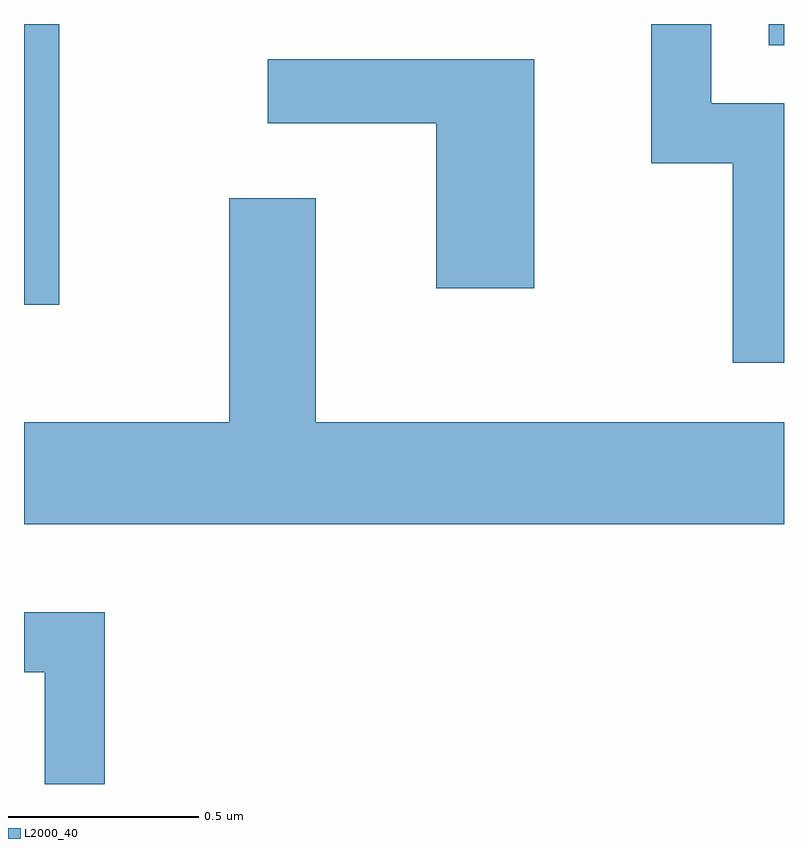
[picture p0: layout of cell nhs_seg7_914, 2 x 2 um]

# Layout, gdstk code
import gdstk
lib = gdstk.Library(unit=1e-6, precision=1e-09)
def R(c, l, rs):  # rectangles x0, y0, x1, y1
    for r in rs: c.add(gdstk.rectangle(r[:2], r[2:], *l))
def P(c, l, *ps):  # polygons
    for p in ps: c.add(gdstk.Polygon(p, *l))
L2000_40 = (2000, 40)

nhs_seg7_914 = lib.new_cell('nhs_seg7_914')
R(nhs_seg7_914, L2000_40, [(191.611,1761.513,191.704,1762.252), (193.571,1762.196,193.611,1762.252)])
P(nhs_seg7_914, L2000_40, [(193.611,1762.044),(193.419,1762.044),(193.419,1762.252),(193.261,1762.252),(193.261,1761.886),(193.476,1761.886),(193.476,1761.361),(193.611,1761.361)],
  [(192.954,1762.159),(192.253,1762.159),(192.253,1761.991),(192.696,1761.991),(192.696,1761.556),(192.954,1761.556)],
  [(193.611,1761.204),(192.379,1761.204),(192.379,1761.794),(192.151,1761.794),(192.151,1761.204),(191.611,1761.204),(191.611,1760.936),(193.611,1760.936)],
  [(191.824,1760.704),(191.611,1760.704),(191.611,1760.546),(191.666,1760.546),(191.666,1760.252),(191.824,1760.252)])

lib.write_gds('nhs_seg7_914.gds')
